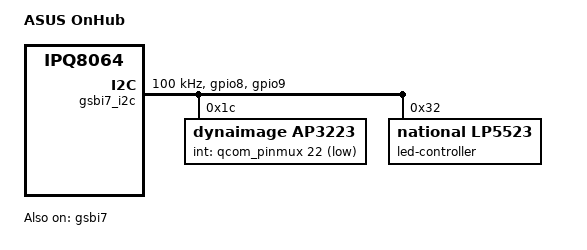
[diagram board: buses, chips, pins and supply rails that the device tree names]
// SPDX-License-Identifier: GPL-2.0
/*
 * Copyright 2014 The ChromiumOS Authors
 */

#include "qcom-ipq8064-onhub.dtsi"
#include <dt-bindings/gpio/gpio.h>
#include <dt-bindings/leds/common.h>
#include <dt-bindings/soc/qcom,gsbi.h>

/ {
	model = "ASUS OnHub";
	compatible = "asus,onhub", "google,arkham", "qcom,ipq8064";
};

&qcom_pinmux {
	ap3223_pins: ap3223_pinmux {
		pins = "gpio22";
		function = "gpio";
		bias-none;
	};

	i2c7_pins: i2c7_pinmux {
		mux {
			pins = "gpio8", "gpio9";
			function = "gsbi7";
		};
		data {
			pins = "gpio8";
			bias-disable;
		};
		clk {
			pins = "gpio9";
			bias-disable;
		};
	};
};

&gsbi7 {
	status = "okay";
	qcom,mode = <GSBI_PROT_I2C_UART>;
};

&gsbi7_i2c {
	status = "okay";
	clock-frequency = <100000>;
	pinctrl-0 = <&i2c7_pins>;
	pinctrl-names = "default";

	ap3223@1c {
		compatible = "dynaimage,ap3223";
		reg = <0x1c>;

		pinctrl-0 = <&ap3223_pins>;
		pinctrl-names = "default";

		int-gpio = <&qcom_pinmux 22 GPIO_ACTIVE_LOW>;
	};

	led-controller@32 {
		compatible = "national,lp5523";
		reg = <0x32>;
		clock-mode = /bits/ 8 <1>;
		#address-cells = <1>;
		#size-cells = <0>;

		led@4 {
			reg = <4>;
			color = <LED_COLOR_ID_GREEN>;
			chan-name = "green:status";
			linux,default-trigger = "default-on";
			led-cur = /bits/ 8 <0xfa>;
			max-cur = /bits/ 8 <0xff>;
		};

		led@5 {
			reg = <5>;
			color = <LED_COLOR_ID_BLUE>;
			chan-name = "blue:status";
			led-cur = /bits/ 8 <0xfa>;
			max-cur = /bits/ 8 <0xff>;
		};

		led@8 {
			reg = <8>;
			color = <LED_COLOR_ID_RED>;
			chan-name = "red:status";
			led-cur = /bits/ 8 <0xfa>;
			max-cur = /bits/ 8 <0xff>;
		};
	};
};
